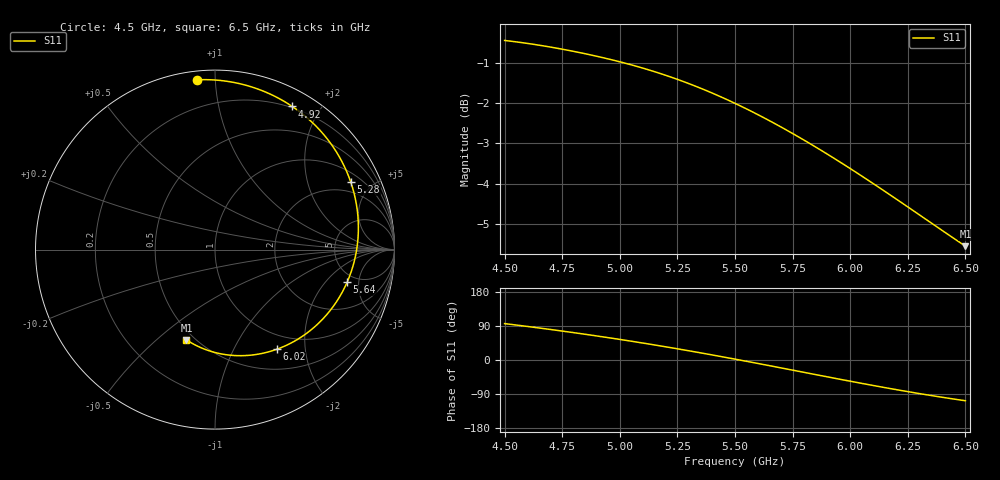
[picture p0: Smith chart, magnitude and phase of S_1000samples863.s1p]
! TOUCHSTONE file generated by CST MICROWAVE STUDIO
! Date and time: Sat Oct 29 15:28:47 2022
! Project name: L.cst
! Parameters = {Di=1.27; Epsilon_r=1.56; InnerDiameter=1.27; Length=2; Lf=10; Lg=60; OuterConductorThickness=0.2921; OuterDiameter=3.6; Wf=3; Wp=41.2; de=1.5; df=6.8; g=0.8; gx=4.47486; gy=4.39383; h=2.34; hf=1.524; px=13.7407; py=10.1108; w=9.7; wx=9.26585; wy=5.71701}
! Header version: 2018
! Port assignment regex: !\s*Touchstone port\s*([0-9]+)\s*=\s*(CST MWS port|CST DS port)\s*([0-9]+|Zmin|Zmax)\s*\(\"(.*)\"\)(\s*mode\s*([0-9]+))?.*
! Touchstone port assignment:
! Touchstone port 1 = CST MWS port 1 ("")
# GHz S DB R 50
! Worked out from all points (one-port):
!   101 points, 4.5 GHz to 6.5 GHz, reference 50 ohm
!   lowest |S11| = -5.6 dB at 6.5 GHz (marker M1), VSWR 3.23, Z = 22.6 - j31.5 ohm
!   |S11| at or under -10 dB: nowhere
!   S11 on the Smith chart (normalised r, x): 4.5 GHz: 0.05, +0.90; 4.92 GHz: 0.19, +1.66; 5.28 GHz: 1.43, +3.75; 5.64 GHz: 4.14, -3.54; 6.02 GHz: 0.78, -1.50; 6.5 GHz: 0.45, -0.63
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4.5  -0.43 96.0
4.58  -0.49 90.0
4.64  -0.54 85.3
4.76  -0.66 75.5
4.84  -0.75 68.7
4.92  -0.85 61.6
5  -0.97 54.3
5.06  -1.06 48.6
5.14  -1.19 40.8
5.26  -1.42 28.5
5.28  -1.47 26.4
5.34  -1.60 20.0
5.4  -1.74 13.4
5.5  -2.00 2.3
5.56  -2.17 -4.6
5.64  -2.40 -13.9
5.7  -2.59 -20.9
5.76  -2.78 -27.9
5.82  -2.99 -35.0
5.88  -3.19 -42.0
5.94  -3.41 -49.0
6  -3.62 -56.0
6.02  -3.70 -58.2
6.08  -3.92 -65.0
6.14  -4.15 -71.7
6.26  -4.62 -84.5
6.38  -5.09 -96.5
6.5  -5.56 -107.6
